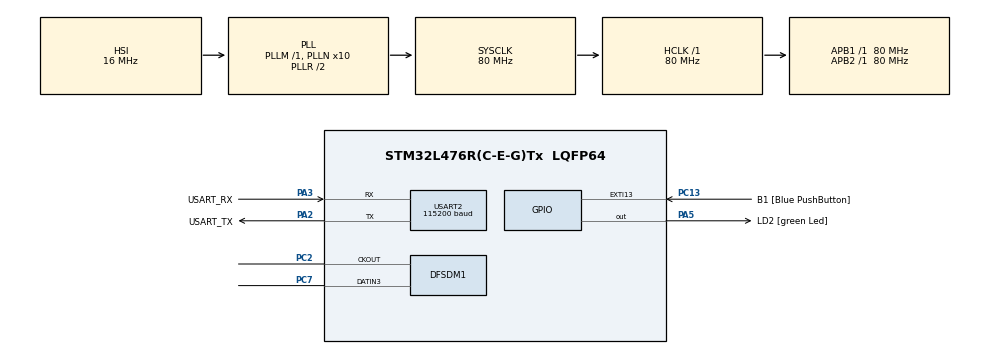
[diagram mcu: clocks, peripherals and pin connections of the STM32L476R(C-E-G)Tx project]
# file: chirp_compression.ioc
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DFSDM1.Divider=25
DFSDM1.DmaMode_reg_FIL0=ENABLE
DFSDM1.DmaMode_reg_FIL1=ENABLE
DFSDM1.FastMode_reg_FIL0=ENABLE
DFSDM1.FastMode_reg_FIL1=ENABLE
DFSDM1.Filter_regChannel_FIL0=DFSDM_CHANNEL_2
DFSDM1.Filter_regChannel_FIL1=DFSDM_CHANNEL_3
DFSDM1.Fosr_FIL0=42
DFSDM1.Fosr_FIL1=42
DFSDM1.RightBitShift_CH2=0x01
DFSDM1.RightBitShift_CH3=0x01
DFSDM1.SincOrder_FIL0=DFSDM_FILTER_SINC3_ORDER
DFSDM1.SincOrder_FIL1=DFSDM_FILTER_SINC3_ORDER
DFSDM1.Type_spi_CH3=DFSDM_CHANNEL_SPI_FALLING
Dma.DFSDM1_FLT0.0.Direction=DMA_PERIPH_TO_MEMORY
Dma.DFSDM1_FLT0.0.Instance=DMA1_Channel4
Dma.DFSDM1_FLT0.0.MemDataAlignment=DMA_MDATAALIGN_WORD
Dma.DFSDM1_FLT0.0.MemInc=DMA_MINC_ENABLE
Dma.DFSDM1_FLT0.0.Mode=DMA_CIRCULAR
Dma.DFSDM1_FLT0.0.PeriphDataAlignment=DMA_PDATAALIGN_WORD
Dma.DFSDM1_FLT0.0.PeriphInc=DMA_PINC_DISABLE
Dma.DFSDM1_FLT0.0.Priority=DMA_PRIORITY_LOW
Dma.DFSDM1_FLT1.1.Direction=DMA_PERIPH_TO_MEMORY
Dma.DFSDM1_FLT1.1.Instance=DMA1_Channel5
Dma.DFSDM1_FLT1.1.MemDataAlignment=DMA_MDATAALIGN_WORD
Dma.DFSDM1_FLT1.1.MemInc=DMA_MINC_ENABLE
Dma.DFSDM1_FLT1.1.Mode=DMA_CIRCULAR
Dma.DFSDM1_FLT1.1.PeriphDataAlignment=DMA_PDATAALIGN_WORD
Dma.DFSDM1_FLT1.1.PeriphInc=DMA_PINC_DISABLE
Dma.DFSDM1_FLT1.1.Priority=DMA_PRIORITY_LOW
Dma.Request0=DFSDM1_FLT0
Dma.Request1=DFSDM1_FLT1
Dma.Request2=USART2_TX
Dma.USART2_TX.2.Direction=DMA_MEMORY_TO_PERIPH
Dma.USART2_TX.2.Instance=DMA1_Channel7
Dma.USART2_TX.2.MemDataAlignment=DMA_MDATAALIGN_BYTE
Dma.USART2_TX.2.MemInc=DMA_MINC_ENABLE
Dma.USART2_TX.2.Mode=DMA_NORMAL
Dma.USART2_TX.2.PeriphDataAlignment=DMA_PDATAALIGN_BYTE
Dma.USART2_TX.2.PeriphInc=DMA_PINC_DISABLE
Dma.USART2_TX.2.Priority=DMA_PRIORITY_LOW
Mcu.Family=STM32L4
Mcu.Name=STM32L476R(C-E-G)Tx
Mcu.Package=LQFP64
NVIC.DMA1_Channel4_IRQn=true\:0\:0\:false\:false\:true\:false
NVIC.DMA1_Channel5_IRQn=true\:0\:0\:false\:false\:true\:false
NVIC.DMA1_Channel7_IRQn=true\:0\:0\:false\:false\:true\:false
NVIC.EXTI15_10_IRQn=true\:0\:0\:false\:false\:true\:true
NVIC.PriorityGroup=NVIC_PRIORITYGROUP_4
NVIC.USART2_IRQn=true\:0\:0\:false\:false\:true\:true
PA13\ (JTMS-SWDIO).GPIO_Label=TMS
PA13\ (JTMS-SWDIO).Mode=Serial_Wire
PA13\ (JTMS-SWDIO).Signal=SYS_JTMS-SWDIO
PA14\ (JTCK-SWCLK).GPIO_Label=TCK
PA14\ (JTCK-SWCLK).Mode=Serial_Wire
PA14\ (JTCK-SWCLK).Signal=SYS_JTCK-SWCLK
PA2.GPIO_Label=USART_TX
PA2.GPIO_Mode=GPIO_MODE_AF_PP
PA2.GPIO_PuPd=GPIO_NOPULL
PA2.GPIO_Speed=GPIO_SPEED_FREQ_VERY_HIGH
PA2.Mode=Asynchronous
PA2.Signal=USART2_TX
PA3.GPIO_Label=USART_RX
PA3.GPIO_Mode=GPIO_MODE_AF_PP
PA3.GPIO_PuPd=GPIO_NOPULL
PA3.GPIO_Speed=GPIO_SPEED_FREQ_VERY_HIGH
PA3.Mode=Asynchronous
PA3.Signal=USART2_RX
PA5.GPIO_Label=LD2 [green Led]
PA5.GPIO_ModeDefaultOutputPP=GPIO_MODE_OUTPUT_PP
PA5.GPIO_PuPd=GPIO_NOPULL
PA5.GPIO_Speed=GPIO_SPEED_FREQ_LOW
PA5.Signal=GPIO_Output
PB3\ (JTDO-TRACESWO).GPIO_Label=SWO
PB3\ (JTDO-TRACESWO).Signal=SYS_JTDO-SWO
PC13.GPIO_Label=B1 [Blue PushButton]
PC13.GPIO_ModeDefaultEXTI=GPIO_MODE_IT_FALLING
PC13.GPIO_PuPd=GPIO_NOPULL
PC13.Signal=GPXTI13
PC2.Signal=S_CKOUTDFSDM1
PC7.Signal=S_DATAIN3DFSDM1
ProjectManager.HeapSize=0x200
ProjectManager.StackSize=0x400
ProjectManager.TargetToolchain=TrueSTUDIO
RCC.ADCFreq_Value=64000000
RCC.AHBFreq_Value=80000000
RCC.APB1Freq_Value=80000000
RCC.APB1TimFreq_Value=80000000
RCC.APB2Freq_Value=80000000
RCC.APB2TimFreq_Value=80000000
RCC.CortexFreq_Value=80000000
RCC.HCLKFreq_Value=80000000
RCC.HSE_VALUE=8000000
RCC.HSI_VALUE=16000000
RCC.LSE_VALUE=32768
RCC.MSI_VALUE=4000000
RCC.PLLN=10
RCC.PLLSourceVirtual=RCC_PLLSOURCE_HSI
RCC.PREFETCH_ENABLE=1
RCC.SYSCLKFreq_VALUE=80000000
RCC.SYSCLKSource=RCC_SYSCLKSOURCE_PLLCLK
RCC.USBFreq_Value=64000000
RCC.VCOOutputFreq_Value=160000000
SH.S_CKOUTDFSDM1.0=DFSDM1_CKOUT,PDM_SPI_input_from_ch3_and_internal_clock
SH.S_CKOUTDFSDM1.1=DFSDM1_CKOUT,PDM_SPI_Input_from_ch23_and_Internal_Clock
SH.S_DATAIN3DFSDM1.0=DFSDM1_DATIN3,PDM_SPI_input_from_ch3_and_internal_clock
SH.S_DATAIN3DFSDM1.1=DFSDM1_DATIN3,PDM_SPI_Input_from_ch23_and_Internal_Clock
USART2.BaudRate=115200
USART2.VirtualMode-Asynchronous=VM_ASYNC
USART2.WordLength=WORDLENGTH_8B
board=NUCLEO-L476RG

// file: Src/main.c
/* USER CODE BEGIN Header */
/**
  ******************************************************************************
  * @file           : main.c
  * @brief          : Main program body
  ******************************************************************************
  ** This notice applies to any and all portions of this file
  * that are not between comment pairs USER CODE BEGIN and
  * USER CODE END. Other portions of this file, whether
  * inserted by the user or by software development tools
  * are owned by their respective copyright owners.
  *
  * COPYRIGHT(c) 2018 STMicroelectronics
  *
  * Redistribution and use in source and binary forms, with or without modification,
  * are permitted provided that the following conditions are met:
  *   1. Redistributions of source code must retain the above copyright notice,
  *      this list of conditions and the following disclaimer.
  *   2. Redistributions in binary form must reproduce the above copyright notice,
  *      this list of conditions and the following disclaimer in the documentation
  *      and/or other materials provided with the distribution.
  *   3. Neither the name of STMicroelectronics nor the names of its contributors
  *      may be used to endorse or promote products derived from this software
  *      without specific prior written permission.
  *
  * THIS SOFTWARE IS PROVIDED BY THE COPYRIGHT HOLDERS AND CONTRIBUTORS "AS IS"
  * AND ANY EXPRESS OR IMPLIED WARRANTIES, INCLUDING, BUT NOT LIMITED TO, THE
  * IMPLIED WARRANTIES OF MERCHANTABILITY AND FITNESS FOR A PARTICULAR PURPOSE ARE
  * DISCLAIMED. IN NO EVENT SHALL THE COPYRIGHT HOLDER OR CONTRIBUTORS BE LIABLE
  * FOR ANY DIRECT, INDIRECT, INCIDENTAL, SPECIAL, EXEMPLARY, OR CONSEQUENTIAL
  * DAMAGES (INCLUDING, BUT NOT LIMITED TO, PROCUREMENT OF SUBSTITUTE GOODS OR
  * SERVICES; LOSS OF USE, DATA, OR PROFITS; OR BUSINESS INTERRUPTION) HOWEVER
  * CAUSED AND ON ANY THEORY OF LIABILITY, WHETHER IN CONTRACT, STRICT LIABILITY,
  * OR TORT (INCLUDING NEGLIGENCE OR OTHERWISE) ARISING IN ANY WAY OUT OF THE USE
  * OF THIS SOFTWARE, EVEN IF ADVISED OF THE POSSIBILITY OF SUCH DAMAGE.
  *
  ******************************************************************************
  */
/* USER CODE END Header */

#include "main.h"
#include "dfsdm.h"
#include "dma.h"
#include "usart.h"
#include "gpio.h"

/* USER CODE BEGIN Includes */
#include "math.h"
#include "stdio.h"
#include "stdbool.h"
#include "arm_math.h"
#include "arm_const_structs.h"
#include "chirp.h"
/* USER CODE END Includes */

/* USER CODE BEGIN PV */
/* Private variables ---------------------------------------------------------*/

// flag: "new PCM data has just been copied to buf"
volatile buffer_cplt cplt = A;
volatile bool new_pcm_data;

// UART input/output
volatile bool output_result = false;
volatile bool wave_out = false;
uint8_t rxbuf[1];

/* USER CODE END PV */

void SystemClock_Config(void);
/* USER CODE BEGIN PFP */
/* Private function prototypes -----------------------------------------------*/

/* USER CODE END PFP */

/* USER CODE BEGIN 0 */

// overlap addition
void overlap_add(float32_t *in, float32_t *out) {

  static float32_t buf[NN] = { 0.0f };
  const uint len = (FRAMES_IN_BUF - 1) * NN;

  // out[A|B|C|D] -> out[B|C|D|-]
  arm_copy_f32(out+NN, out, len);
  // [A|-] + buf[prev B] -> out[-|-|-|A]
  arm_add_f32(in, buf, out+len, NN);
  // [-|B] --> [B]
  arm_copy_f32(in+NN, buf, NN);
}

#define NUM_MEANS 512

// AC coupling (to remove DC)
void apply_ac_coupling(float32_t *signal) {
  float32_t mean;
  static float32_t mean_hist[NUM_MEANS] = { 0.0f };
  arm_copy_f32(mean_hist+1, mean_hist, NUM_MEANS-1);
  arm_mean_f32(signal, NN, mean_hist+NUM_MEANS-1);
  arm_mean_f32(signal, NUM_MEANS, &mean);
  arm_offset_f32(signal, -mean, signal, NN);
}
/* USER CODE END 0 */

int main(void)
{
  /* USER CODE BEGIN 1 */

  // Buffer for FFT/IFFT processing
  float32_t signal[NN*2] = { 0.0f };

  // Compressed wave (chirp compression)
  float32_t compressed[NN*4] = { 0.0f };

  // DMA peripheral to memory buffer
  int32_t dfsdm_buf[NN*2] = { 0 };

  // UART buffer
  uint8_t uart_buf[NN*FRAMES_IN_BUF*2];

  // Audio sample rate and period
  float fs;
  float sampling_period;

  /* USER CODE END 1 */

  /* MCU Configuration--------------------------------------------------------*/

  /* Reset of all peripherals, Initializes the Flash interface and the Systick. */
  HAL_Init();

  /* Configure the system clock */
  SystemClock_Config();

  /* Initialize all configured peripherals */
  MX_GPIO_Init();
  MX_DMA_Init();
  MX_USART2_UART_Init();
  MX_DFSDM1_Init();
  /* USER CODE BEGIN 2 */

  // FFT sampling rate
  fs = SystemCoreClock / hdfsdm1_channel2.Init.OutputClock.Divider
      / hdfsdm1_filter0.Init.FilterParam.Oversampling
      / hdfsdm1_filter0.Init.FilterParam.IntOversampling;

  // Initialize reference chirp signal
  init_ref_chirp(fs);

  // Enable UART receive interrupt
  HAL_UART_Receive_IT(&huart2, rxbuf, 1);

  // Enable DMA from DFSDM to buf (peripheral to memory)
  if (HAL_DFSDM_FilterRegularStart_DMA(&hdfsdm1_filter0, dfsdm_buf, NN*2)
      != HAL_OK) {
    Error_Handler();
  }

  // Show starting message

  printf("/// Chirp compression experiment ///\n\n");
  printf("Sampling rate: %4.1f(kHz)\n", (float) fs / 1000.0f);
  sampling_period = 1.0f / fs * NN;
  printf("Sampling period: %.1f(msec), Samples per period: %ld\n\n",
      sampling_period * 1000.0f, NN);
  printf("Push USER button to output single-shot wave form\n");

  /* USER CODE END 2 */

  /* Infinite loop */
  /* USER CODE BEGIN WHILE */
  while (1) {

    // Wait for next PCM samples from M1
    if (new_pcm_data) {

      if (cplt == A) {   // [NN|--]
        for (int n = 0; n < NN; n++) {
          signal[n] = (float32_t) (dfsdm_buf[n] >> 9);
        }
      } else if (cplt == B) {   // [--|NN]
        for (int n = 0; n < NN; n++) {
          signal[n] = (float32_t) (dfsdm_buf[n+NN] >> 9);
        }
      }

      apply_ac_coupling(signal);

      // zero padding: [NN:all 0]
      arm_fill_f32(0.0f, signal + NN, NN);

      // Perform chirp compression
      if (!wave_out) {
        compress_chirp(signal);
      }

      // Overlap add
      overlap_add(signal, compressed);

      // Output result
      if (output_result) {
        //printf("start_time: %lu, finish_time: %lu\n", start_time, finish_time);
        for (int n = 0; n < NN * FRAMES_IN_BUF; n++) {
          uart_buf[n*2] = (uint8_t) (((int16_t)compressed[n]) >> 8);
          uart_buf[n*2+1] = (uint8_t) (((int16_t)compressed[n] & 0x00ff));
        }
        HAL_UART_Transmit_DMA(&huart2, uart_buf, NN * FRAMES_IN_BUF * 2);
        HAL_GPIO_WritePin(LD2_GPIO_Port, LD2_Pin, GPIO_PIN_RESET);
        output_result = false;
      }
      new_pcm_data = false;
    }
    /* USER CODE END WHILE */

  }
}

void SystemClock_Config(void)
{
  RCC_OscInitTypeDef RCC_OscInitStruct = {0};
  RCC_ClkInitTypeDef RCC_ClkInitStruct = {0};
  RCC_PeriphCLKInitTypeDef PeriphClkInit = {0};

  /**Initializes the CPU, AHB and APB busses clocks
  */
  RCC_OscInitStruct.OscillatorType = RCC_OSCILLATORTYPE_HSI;
  RCC_OscInitStruct.HSIState = RCC_HSI_ON;
  RCC_OscInitStruct.HSICalibrationValue = RCC_HSICALIBRATION_DEFAULT;
  RCC_OscInitStruct.PLL.PLLState = RCC_PLL_ON;
  RCC_OscInitStruct.PLL.PLLSource = RCC_PLLSOURCE_HSI;
  RCC_OscInitStruct.PLL.PLLM = 1;
  RCC_OscInitStruct.PLL.PLLN = 10;
  RCC_OscInitStruct.PLL.PLLP = RCC_PLLP_DIV7;
  RCC_OscInitStruct.PLL.PLLQ = RCC_PLLQ_DIV2;
  RCC_OscInitStruct.PLL.PLLR = RCC_PLLR_DIV2;
  if (HAL_RCC_OscConfig(&RCC_OscInitStruct) != HAL_OK)
  {
    Error_Handler();
  }
  /**Initializes the CPU, AHB and APB busses clocks
  */
  RCC_ClkInitStruct.ClockType = RCC_CLOCKTYPE_HCLK|RCC_CLOCKTYPE_SYSCLK
                              |RCC_CLOCKTYPE_PCLK1|RCC_CLOCKTYPE_PCLK2;
  RCC_ClkInitStruct.SYSCLKSource = RCC_SYSCLKSOURCE_PLLCLK;
  RCC_ClkInitStruct.AHBCLKDivider = RCC_SYSCLK_DIV1;
  RCC_ClkInitStruct.APB1CLKDivider = RCC_HCLK_DIV1;
  RCC_ClkInitStruct.APB2CLKDivider = RCC_HCLK_DIV1;

  if (HAL_RCC_ClockConfig(&RCC_ClkInitStruct, FLASH_LATENCY_4) != HAL_OK)
  {
    Error_Handler();
  }
  PeriphClkInit.PeriphClockSelection = RCC_PERIPHCLK_USART2|RCC_PERIPHCLK_DFSDM1;
  PeriphClkInit.Usart2ClockSelection = RCC_USART2CLKSOURCE_PCLK1;
  PeriphClkInit.Dfsdm1ClockSelection = RCC_DFSDM1CLKSOURCE_PCLK;
  if (HAL_RCCEx_PeriphCLKConfig(&PeriphClkInit) != HAL_OK)
  {
    Error_Handler();
  }
  /**Configure the main internal regulator output voltage
  */
  if (HAL_PWREx_ControlVoltageScaling(PWR_REGULATOR_VOLTAGE_SCALE1) != HAL_OK)
  {
    Error_Handler();
  }
}

/* USER CODE BEGIN 4 */

/**
 * @brief  Half regular conversion complete callback.
 * @param  hdfsdm_filter : DFSDM filter handle.
 * @retval None
 */
void HAL_DFSDM_FilterRegConvHalfCpltCallback(
    DFSDM_Filter_HandleTypeDef *hdfsdm_filter) {
  if (!new_pcm_data && (hdfsdm_filter == &hdfsdm1_filter0)) {
    cplt = A;
    new_pcm_data = true;
  }
}

/**
 * @brief  Regular conversion complete callback.
 * @note   In interrupt mode, user has to read conversion value in this function
 using HAL_DFSDM_FilterGetRegularValue.
 * @param  hdfsdm_filter : DFSDM filter handle.
 * @retval None
 */
void HAL_DFSDM_FilterRegConvCpltCallback(
    DFSDM_Filter_HandleTypeDef *hdfsdm_filter) {
  if (!new_pcm_data && (hdfsdm_filter == &hdfsdm1_filter0)) {
    cplt = B;
    new_pcm_data = true;
  }
}

/**
 * @brief  Retargets the C library printf function to the USART.
 * @param  None
 * @retval None
 */
int _write(int file, char *ptr, int len) {
  HAL_UART_Transmit(&huart2, (uint8_t *) ptr, (uint16_t) len, 0xFFFFFFFF);
  return len;
}

/**
 * @brief  GPIO External Interrupt callback
 * @param  GPIO_Pin
 * @retval None
 */
void HAL_GPIO_EXTI_Callback(uint16_t GPIO_Pin) {
  if (GPIO_Pin == GPIO_PIN_13) {  // User button (blue tactile switch)
    HAL_GPIO_WritePin(LD2_GPIO_Port, LD2_Pin, GPIO_PIN_SET);
    output_result = true;
  }
}

void HAL_UART_RxCpltCallback(UART_HandleTypeDef *huart) {
  switch(rxbuf[0]) {
  case RAW_WAVE:
    wave_out = true;   // Raw data output
    output_result = true;
    break;
  case COMPRESSION:
    wave_out = false;  // Chirp compression result
    output_result = true;
    break;
  }

  HAL_GPIO_WritePin(LD2_GPIO_Port, LD2_Pin, GPIO_PIN_SET);
  HAL_UART_Receive_IT(&huart2, rxbuf, 1);
}
/* USER CODE END 4 */

void Error_Handler(void)
{
  while (1) {
  }
}

/************************ (C) COPYRIGHT STMicroelectronics *****END OF FILE****/
